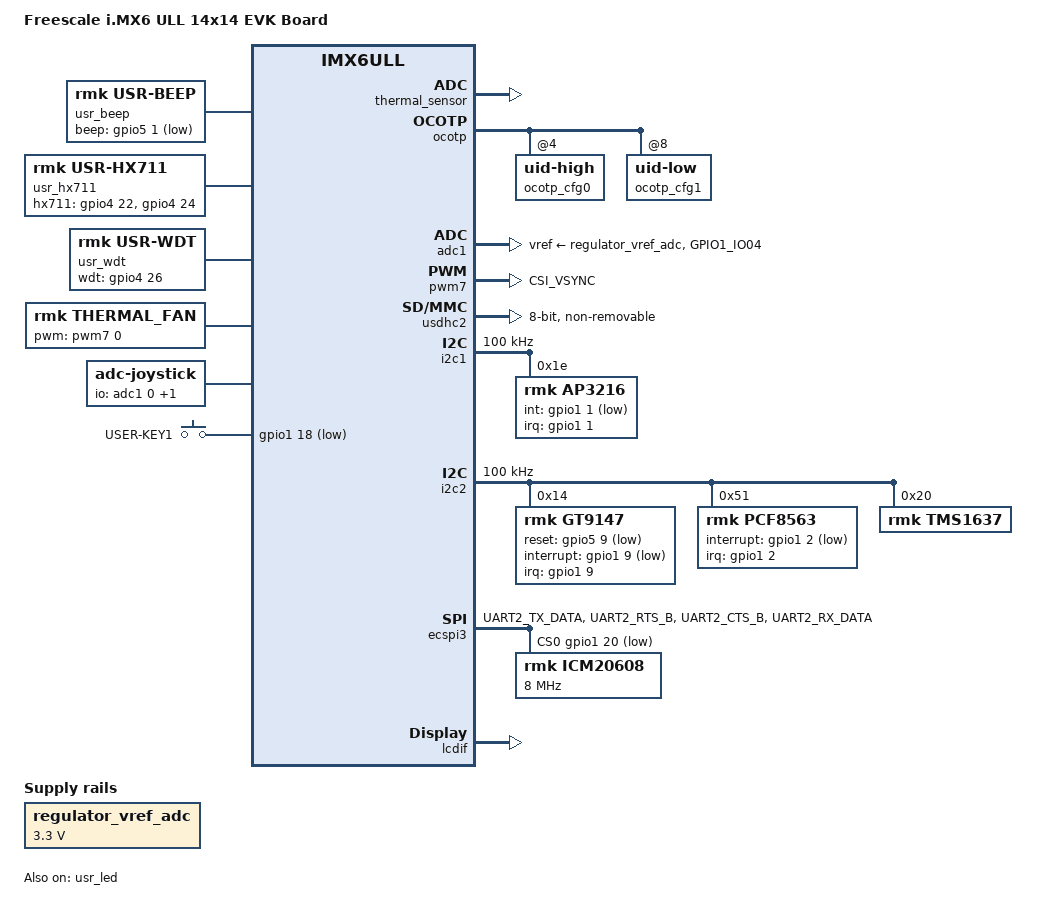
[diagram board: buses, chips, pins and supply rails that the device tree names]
/*
 * Copyright 2019 NXP
 *
 * This program is free software; you can redistribute it and/or
 * modify it under the terms of the GNU General Public License
 * as published by the Free Software Foundation; either version 2
 * of the License, or (at your option) any later version.
 */

/dts-v1/;

#include "imx6ull.dtsi"
#include "imx6ul-14x14-rmk.dtsi"

/ {
	model = "Freescale i.MX6 ULL 14x14 EVK Board";
	compatible = "fsl,imx6ull-14x14-evk", "fsl,imx6ull";

	//访问路径: /sys/class/leds/led-red, /sys/class/leds/led-green, /sys/class/leds/led-blue
	leds-gpio {
		compatible = "leds-gpio";
		pinctrl-names = "default";
		pinctrl-0 = <&pinctrl_loopled>;
		status = "okay";

		led-red {
			label = "led-red";
			gpios = <&gpio4 21 GPIO_ACTIVE_HIGH>;
			default-state = "off";
		};

		led-green {
			label = "led-green";
			gpios = <&gpio4 23 GPIO_ACTIVE_HIGH>;
			default-state = "off";
		};

		led-blue {
			label = "led-blue";
			gpios = <&gpio4 25 GPIO_ACTIVE_HIGH>;
			default-state = "off";
		};
	};

	gpiosgrp {
		compatible = "simple-bus";
		#address-cells = <1>;
		#size-cells = <1>;
		ranges;

		usr_led: usr_led {
			compatible = "rmk,usr-led";
			pinctrl-names = "default", "improve";
			pinctrl-0 = <&pinctrl_gpio_led>;
			pinctrl-1 =	<&pinctrl_led_improve>;
			led-gpios = <&gpio1 3 GPIO_ACTIVE_LOW>;
			reg = <0x020c406c 0x04>,
			   <0x020e0068 0x04>,
			   <0x020e02f4 0x04>,
			   <0x0209c000 0x04>,
			   <0x0209c004 0x04>;
			status = "okay";
		};

		usr_beep: usr_beep  {
			compatible = "rmk,usr-beep";
			pinctrl-names = "default";
			pinctrl-0 = <&pinctrl_gpio_beep>;
			beep-gpios = <&gpio5 1 GPIO_ACTIVE_LOW>;
			status = "okay";
		};

		// usr_key {
		// 	compatible = "rmk,usr-key";
		// 	pinctrl-names = "default";
		// 	pinctrl-0 = <&pinctrl_gpio_key>;
		// 	key-gpios = <&gpio1 18 GPIO_ACTIVE_LOW>;
		// 	interrupt-parent = <&gpio1>;
		// 	interrupts = <18 (IRQ_TYPE_EDGE_FALLING|IRQ_TYPE_EDGE_RISING)>;
		// 	status = "okay";
		// };
	
		// usr_loopled {
		// 	compatible = "rmk,usr-loopled";
		// 	pinctrl-names = "default";
		// 	leds-num = <3>;
		// 	pinctrl-0 = <&pinctrl_loopled>;
		// 	leds-gpios = <&gpio4 21 GPIO_ACTIVE_HIGH>,
		// 				<&gpio4 23 GPIO_ACTIVE_HIGH>,
		// 				<&gpio4 25 GPIO_ACTIVE_HIGH>;
		// 	status = "okay";
		// };

		usr_hx711 {
			compatible = "rmk,usr-hx711";
			pinctrl-names = "default";
			pinctrl-0 = <&pinctrl_hx711>;
			hx711-gpios = <&gpio4 22 GPIO_ACTIVE_HIGH>,
						<&gpio4 24 GPIO_ACTIVE_HIGH>;
			status = "okay";
		};

		usr_wdt {
			compatible = "rmk,usr-wdt";
			pinctrl-names = "default";
			pinctrl-0 = <&pinctrl_wdt_pin>;
			wdt-gpios = <&gpio4 26 GPIO_ACTIVE_HIGH>;
			status = "okay";
		};
	};

	// 增加背光管理节点
	// usr-backlight {
	// 	compatible = "rmk,pwm-bl";
	// 	pwms = <&pwm7 0 5000000 0>;
	// 	brightness-levels = <0 4 8 16 32 64 128 255>;
	// 	default-brightness-level = <6>;
	// 	status = "okay";
	// };

	// pwm consumer device
	// usr_pwm_consumer {
	// 	compatible = "rmk,pwm_consumer";
	// 	pwms = <&pwm7 0 10000 0>;       //PWM引用，内部索引，周期， pwm极性
	// 	default-duty = <10>;             //0 - 100，占空比
	// 	status = "okay";
	// };

	// thermal zone device
	thermal_zones {
		compatible = "simple-bus";
		
		// thermal cooling device
		thermal_fan: pwm-fan {
			compatible = "rmk,thermal_fan";
			pwms = <&pwm7 0 10000 0>;
			#cooling-cells = <2>;
			cooling-levels = <0 102 170 230 255>;
			default-fan-level = <2>;
			status = "okay";
		};

		// thermal zone device
		thermal_sensor: adc-temp {
			compatible = "rmk,thermal_sensor";
			io-channels = <&adc1 0>;
			polling-delay-passive = <1000>;
			polling-delay = <8000>;
			status = "okay";

			cooling-map {
				active_trip {
					trip,temp = <40000>;
					cooling-device = <&thermal_fan 1 1>;
				};

				passive_trip {
					trip,temp = <60000>;
					cooling-device = <&thermal_fan 2 2>;
				};

				hot_trip {
					trip,temp = <70000>;
					cooling-device = <&thermal_fan 3 3>;
				};

				crit_trip {
					trip,temp = <95000>;
					cooling-device = <&thermal_fan 4 4>;
				};
			};
		};
	};

	joystick: adc-joystick {
		compatible = "adc-joystick";
		io-channels = <&adc1 0>,
					<&adc1 1>;
		poll-interval = <100>;
		#address-cells = <1>;
		#size-cells = <0>;

		axis@0 {
				reg = <0>;
				linux,code = <ABS_X>;
				abs-range = <4096 0>;
				abs-fuzz = <4>;
				abs-flat = <200>;
		};
		axis@1 {
				reg = <1>;
				linux,code = <ABS_Y>;
				abs-range = <0 4096>;
				abs-fuzz = <4>;
				abs-flat = <200>;
		};
	};

	gpio_keys: gpio_keys@0 {
		compatible = "gpio-keys";
		pinctrl-names = "default";
		pinctrl-0 = <&pinctrl_gpio_keys>;
		#address-cells = <1>;
		#size-cells = <0>;
		autorepeat;

		key1@1 {
			label = "USER-KEY1";
			linux,code = <114>;
			gpios = <&gpio1 18 GPIO_ACTIVE_LOW>;
			gpio-key,wakeup;
		};
	};
	
	usr_nref {
		compatible = "rmk,usr_nref";
		nvmem-cells = <&nvmem_user_cell>,
					<&ocotp_cfg0>,
					<&ocotp_cfg1>;
		nvmem-cell-names = "nvmem_user_cell", "uid-high", "uid-low";
		status = "okay";
	};

	usr_nvmem {
		compatible = "rmk,usr_nvmem";
		#address-cells = <1>;
		#size-cells = <1>;
		status = "okay";

		nvmem_user_cell: nvmem_user_cell@00 {
			reg = <0x00 4>;
		};
	};

	regulators {
		compatible = "simple-bus";
		#address-cells = <1>;
		#size-cells = <0>;

		regulator_vref_adc: regulator@1 {
			compatible = "regulator-fixed";
			regulator-name = "VREF_3V";
			regulator-min-microvolt = <3300000>;
			regulator-max-microvolt = <3300000>;
		};
	};
};

&ocotp {
	ocotp_cfg0: uid-high@4 {
		reg = <0x4 4>;					
	};

	ocotp_cfg1: uid-low@4 {
		reg = <0x8 4>;					
	};
};

&clks {
	assigned-clocks = <&clks IMX6UL_CLK_PLL3_PFD2>,
			  <&clks IMX6UL_CLK_PLL4_AUDIO_DIV>;
	assigned-clock-rates = <320000000>, <786432000>;
};

&iomuxc {
	pinctrl_gpio_keys: gpio-keys{
        fsl,pins = <
            MX6UL_PAD_UART1_CTS_B__GPIO1_IO18		0x40000000
        >;
		bias-pull-up;
	};

    pinctrl_gpio_led: gpio-led {
        fsl,pins = <
            MX6UL_PAD_GPIO1_IO03__GPIO1_IO03		0x17059
        >;
    };

	pinctrl_led_improve: led-improve {
	    fsl,pins = <
            MX6UL_PAD_GPIO1_IO03__GPIO1_IO03		0x40017059
        >;	
	};

	pinctrl_loopled: gpio-loopleds {
        fsl,pins = <
            MX6UL_PAD_CSI_DATA00__GPIO4_IO21		0x17059
			MX6UL_PAD_CSI_DATA02__GPIO4_IO23		0x17059
			MX6UL_PAD_CSI_DATA04__GPIO4_IO25		0x17059
        >;
	};

	pinctrl_hx711: gpio-hx711 {
        fsl,pins = <
            MX6UL_PAD_CSI_DATA01__GPIO4_IO22		0x17059
			MX6UL_PAD_CSI_DATA03__GPIO4_IO24		0x17059
        >;
	};

	pinctrl_wdt_pin: gpio-wdt {
	    fsl,pins = <
            MX6UL_PAD_CSI_DATA05__GPIO4_IO26		0x17059
        >;	
	};

	pinctrl_gpio_key: gpio-key {
		fsl,pins = <
			MX6UL_PAD_UART1_CTS_B__GPIO1_IO18		0x40000000
		>;
	};

	pinctrl_ap3216_tsc: gpio-ap3216 {
		fsl,pins = <
			MX6UL_PAD_GPIO1_IO01__GPIO1_IO01		0x40017059
		>;
	};

	pinctrl_ecspi3: ecspi3grp {
        fsl,pins = <
			MX6UL_PAD_UART2_TX_DATA__GPIO1_IO20		0x100b0
			MX6UL_PAD_UART2_RTS_B__ECSPI3_MISO      0x100b1  
			MX6UL_PAD_UART2_CTS_B__ECSPI3_MOSI      0x100b1 
			MX6UL_PAD_UART2_RX_DATA__ECSPI3_SCLK    0x100b1
        >;
	};

	pinctrl_tsc: tscgrp {
	    fsl,pins = <
			MX6UL_PAD_GPIO1_IO09__GPIO1_IO09 		0x40017059
        >;	
	};

	pinctrl_rtc: rtcgrp {
	    fsl,pins = <
			MX6UL_PAD_GPIO1_IO02__GPIO1_IO02 		0xF080
        >;
	};

	pinctrl_adc1: adc1grp {
	    fsl,pins = <
			MX6UL_PAD_GPIO1_IO04__GPIO1_IO04 		0x400000b0
        >;
	};

	pinctrl_pwm7: pwm7grp {
		fsl,pins = <
			MX6UL_PAD_CSI_VSYNC__PWM7_OUT			0x110b0
        >;
	};
};

&iomuxc_snvs {
	pinctrl_tsc_reset: tsc_reset {
		fsl,pins = <
			MX6ULL_PAD_SNVS_TAMPER9__GPIO5_IO09		0x49
		>;		
	};

	pinctrl_gpio_beep: beep {
		fsl,pins = <
			MX6ULL_PAD_SNVS_TAMPER1__GPIO5_IO01		0x400010B0
		>;
	};
};

&adc1 {
	#io-channel-cells = <1>;
	io-channel-rangs;
	// num-channels = <2>;
	pinctrl-name = "default";
	pinctrl-0 = <&pinctrl_adc1>;
	vref-supply = <&regulator_vref_adc>;
	status = "okay";
};

&pwm7 {
	compatible = "rmk,pwm";
	pinctrl-names = "default";
	pinctrl-0 = <&pinctrl_pwm7>;
	status = "okay";
};

&usdhc2 {
	pinctrl-names = "default", "state_100mhz", "state_200mhz";
	pinctrl-0 = <&pinctrl_usdhc2_8bit>;
	pinctrl-1 = <&pinctrl_usdhc2_8bit_100mhz>;
	pinctrl-2 = <&pinctrl_usdhc2_8bit_200mhz>;
	bus-width = <8>;
	non-removable;
	no-1-8-v;
	status = "okay";
};

&i2c1 {
	clock-frequency = <100000>;
	pinctrl-names = "default";
	pinctrl-0 = <&pinctrl_i2c1>;
	status = "okay";
	
	ap3216@1e {
		compatible = "rmk,ap3216";
		reg = <0x1e>;
		rmk,sysconf = /bits/ 8 <0x03>;
		pinctrl-names = "default";
		pinctrl-0 = <&pinctrl_ap3216_tsc>;
		interrupt-parent = <&gpio1>;
		interrupts = <1 IRQ_TYPE_EDGE_FALLING>;
		int-gpios = <&gpio1 1 GPIO_ACTIVE_LOW>;
	};
};

&i2c2 {
	clock-frequency = <100000>;
	pinctrl-names = "default";
	pinctrl-0 = <&pinctrl_i2c2>;
	status = "okay";

	gt9147: gt9147@14 {
		compatible = "rmk,gt9147";
		reg = <0x14>;
		pinctrl-names = "default";
		pinctrl-0 = <&pinctrl_tsc 
					&pinctrl_tsc_reset>;
		interrupt-parent = <&gpio1>;
		interrupts = <9 IRQ_TYPE_EDGE_FALLING>;
		reset-gpios = <&gpio5 9 GPIO_ACTIVE_LOW>;
		interrupt-gpios = <&gpio1 9 GPIO_ACTIVE_LOW>;
		status = "okay";
	};

	pcf8563: pcf8563@51 {
		compatible = "rmk,pcf8563";
		reg = <0x51>;
		pinctrl-names = "default";
		pinctrl-0 = <&pinctrl_rtc>;
		interrupt-parent = <&gpio1>;
		interrupts = <2 IRQ_TYPE_LEVEL_LOW>;
		interrupt-gpios = <&gpio1 2 GPIO_ACTIVE_LOW>;
		status = "okay";
	};

	tms1637: tms1637@20 {
		compatible = "rmk,tms1637";
		reg = <0x20>;
		status = "okay";
	};
};

&ecspi3 {
	fsl,spi-num-chipselects = <1>;
	cs-gpios = <&gpio1 20 GPIO_ACTIVE_LOW>;
	pinctrl-names = "default";
	pinctrl-0 = <&pinctrl_ecspi3>;
	status = "okay";

	icm20608:icm20608@0 {
		compatible = "rmk,icm20608";
		spi-max-frequency = <8000000>;
		reg = <0>;

		smplrt_div 		= /bits/ 8 <0x00>;
		gyro_config 	= /bits/ 8 <0x18>;
		accel_config 	= /bits/ 8 <0x18>;
		config			= /bits/ 8 <0x04>;
		accel_config2 	= /bits/ 8 <0x04>;
		pwr_mgmt_2 		= /bits/ 8 <0x00>;
		lp_mode_cfg 	= /bits/ 8 <0x00>;
		fifo_en			= /bits/ 8 <0x00>;
	};
};

&lcdif {
	assigned-clocks = <&clks IMX6UL_CLK_LCDIF_PRE_SEL>;
	assigned-clock-parents = <&clks IMX6UL_CLK_PLL5_VIDEO_DIV>;
	pinctrl-names = "default";
	pinctrl-0 = <&pinctrl_lcdif_dat
		     &pinctrl_lcdif_ctrl>;
	display = <&display0>;
	status = "okay";

	display0: display@0 {
		bits-per-pixel = <24>;
		bus-width = <24>;

		display-timings {
			native-mode = <&timing0>;
            
			timing0: timing0 {
                clock-frequency = <33000000>;
                hactive = <800>;
                vactive = <480>;
                hfront-porch = <40>;
                hback-porch = <88>;
                hsync-len = <48>;
                vback-porch = <32>;
                vfront-porch = <13>;
                vsync-len = <3>;

                hsync-active = <0>;
                vsync-active = <0>;
                de-active = <1>;
                pixelclk-active = <0>;
			};
		};
	};
};
